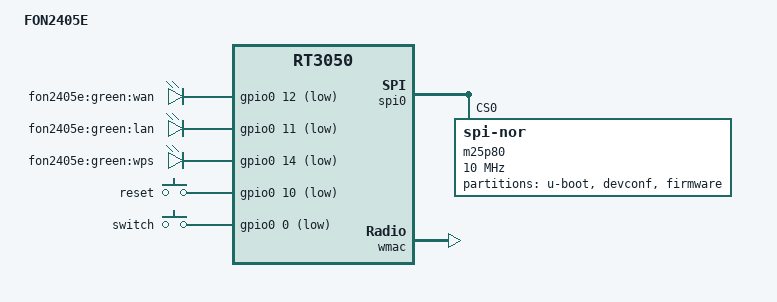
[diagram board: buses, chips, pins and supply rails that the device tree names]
/dts-v1/;

#include "rt3050.dtsi"

#include <dt-bindings/gpio/gpio.h>
#include <dt-bindings/input/input.h>

/ {
	compatible = "fon,fon2405e", "ralink,rt3050-soc";
	model = "FON2405E";

	leds {
		compatible = "gpio-leds";

		wan {
			label = "fon2405e:green:wan";
			gpios = <&gpio0 12 GPIO_ACTIVE_LOW>;
		};

		lan {
			label = "fon2405e:green:lan";
			gpios = <&gpio0 11 GPIO_ACTIVE_LOW>;
		};

		wps {
			label = "fon2405e:green:wps";
			gpios = <&gpio0 14 GPIO_ACTIVE_LOW>;
		};
	};

	keys {
		compatible = "gpio-keys-polled";
		#address-cells = <1>;
		#size-cells = <0>;
		poll-interval = <20>;

		reset {
			label = "reset";
			gpios = <&gpio0 10 GPIO_ACTIVE_LOW>;
			linux,code = <KEY_RESTART>;
		};

		wps {
			label = "switch";
			gpios = <&gpio0 0 GPIO_ACTIVE_LOW>;
			linux,code = <KEY_WPS_BUTTON>;
		};
	};
};

&spi0 {
	status = "okay";

	m25p80@0 {
		#address-cells = <1>;
		#size-cells = <1>;
		compatible = "jedec,spi-nor";
		reg = <0>;
		spi-max-frequency = <10000000>;

		partition@0 {
			label = "u-boot";
			reg = <0x0 0x10000>;
			read-only;
		};

		devconf: partition@10000 {
			label = "devconf";
			reg = <0x10000 0x10000>;
			read-only;
		};

		firmware: partition@20000 {
			label = "firmware";
			reg = <0x20000 0x7b0000>;
		};
	};
};

&pinctrl {
	state_default: pinctrl0 {
		gpio {
			ralink,group = "i2c", "jtag", "mdio", "rgmii", "uartf";
			ralink,function = "gpio";
		};
	};
};

&ethernet {
	mtd-mac-address = <&devconf 0x28>;
};

&esw {
	mediatek,portmap = <0x2f>;
};

&wmac {
	ralink,mtd-eeprom = <&devconf 0x0>;
};

